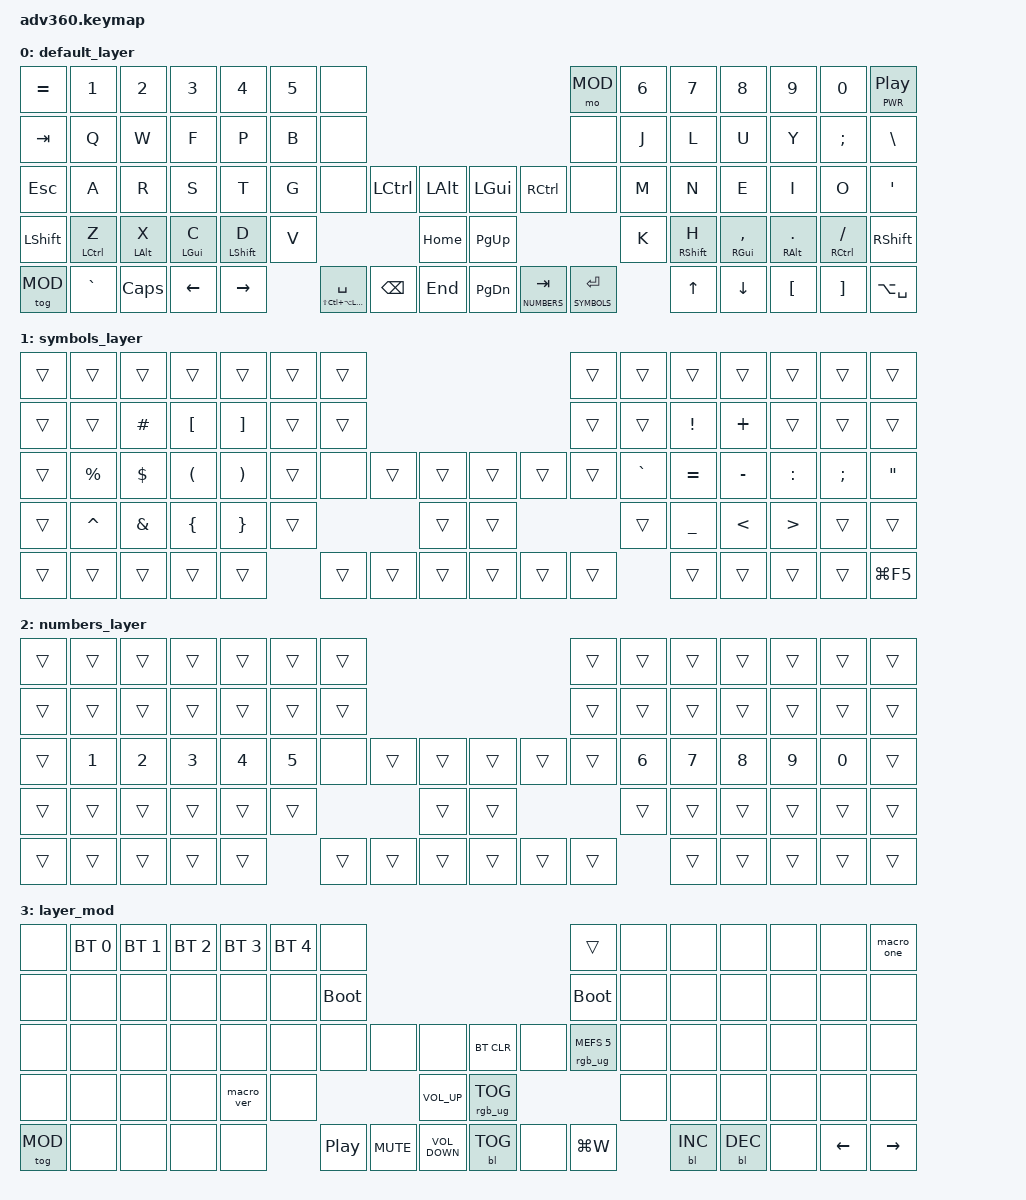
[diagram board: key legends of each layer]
/*
 * Copyright (c) 2020 The ZMK Contributors
 *
 * SPDX-License-Identifier: MIT
 */
/* THIS FILE WAS GENERATED!
 *
 * This file was generated automatically. You may or may not want to
 * edit it directly.
 */

#include <behaviors.dtsi>
#include <dt-bindings/zmk/backlight.h>
#include <dt-bindings/zmk/bt.h>
#include <dt-bindings/zmk/keys.h>
#include <dt-bindings/zmk/rgb.h>

#define DEFAULT 0
#define SYMBOLS 1
#define NUMBERS 2
#define MOD 3
#define HYPER LS(LC(LA(LGUI)))

/ {
    behaviors {
        #include "macros.dtsi"
        #include "version.dtsi"
        #ifndef VERSION_MACRO
        macro_ver: macro_ver {
            compatible = "zmk,behavior-macro";
            label = "macro_version";
            #binding-cells = <0>;
            bindings = <&kp RET>;
        };
        #endif

        ht: hold_tap {
            compatible = "zmk,behavior-hold-tap";
            label = "HOLD_TAP";
            #binding-cells = <2>;
            flavor = "tap-preferred";
            tapping-term-ms = <200>;
            bindings = <&kp>, <&kp>;
        };
        hm: homerow_mods {
            compatible = "zmk,behavior-hold-tap";
            label = "Homerow Mods";
            bindings = <&kp>, <&kp>;

            #binding-cells = <2>;
            tapping-term-ms = <200>;
            quick-tap-ms = <175>;
            flavor = "tap-preferred";
        };
    };

    macros {
        #include "secret_macros.dtsi"
        #ifndef MACRO_ONE
        macro_one: macro_one {
            compatible = "zmk,behavior-macro";
            #binding-cells = <0>;
            wait-ms = <40>;
            tap-ms = <40>;
            bindings = <&kp RET>;
        };
        #endif
    };

    keymap {
        compatible = "zmk,keymap";

        default_layer {
            bindings = <
&kp  EQUAL  &kp N1       &kp N2      &kp N3      &kp N4        &kp N5  &none                                                                     &mo MOD            &kp N6  &kp N7       &kp N8          &kp N9        &kp N0          &ht C_PWR C_PLAY_PAUSE
&kp  TAB    &kp Q        &kp W       &kp F       &kp P         &kp B   &none                                                                     &none              &kp J   &kp L        &kp U           &kp Y         &kp SEMI        &kp BSLH
&kp  ESC    &kp A        &kp R       &kp S       &kp T         &kp G   &none            &kp LCTRL      &kp LALT      &kp LGUI   &kp RCTRL        &none              &kp M   &kp N        &kp E           &kp I         &kp O           &kp SQT
&kp  LSHFT  &hm LCTRL Z  &hm LALT X  &hm LGUI C  &hm LSHIFT D  &kp V                                   &kp HOME      &kp PG_UP                                      &kp K   &hm RSHFT H  &hm RGUI COMMA  &hm RALT DOT  &hm RCTRL FSLH  &kp RSHFT
&tog MOD    &kp GRAVE    &kp CAPS    &kp LEFT    &kp RIGHT             &mt HYPER SPACE  &kp BACKSPACE  &kp END       &kp PG_DN  &lt NUMBERS TAB  &lt SYMBOLS ENTER          &kp UP       &kp DOWN        &kp LBKT      &kp RBKT        &kp LA(SPACE)
            >;
        };

        symbols_layer {
            bindings = <
&trans  &trans       &trans     &trans    &trans    &trans  &trans                                      &trans  &trans     &trans     &trans     &trans     &trans    &trans
&trans  &trans       &kp POUND  &kp LBKT  &kp RBKT  &trans  &trans                                      &trans  &trans     &kp EXCL   &kp PLUS   &trans     &trans    &trans
&trans  &kp PERCENT  &kp DLLR   &kp LPAR  &kp RPAR  &trans  &none   &trans  &trans      &trans  &trans  &trans  &kp GRAVE  &kp EQUAL  &kp MINUS  &kp COLON  &kp SEMI  &kp DQT
&trans  &kp CARET    &kp AMPS   &kp LBRC  &kp RBRC  &trans                  &trans      &trans                  &trans     &kp UNDER  &kp LT     &kp GT     &trans    &trans
&trans  &trans       &trans     &trans    &trans            &trans  &trans  &trans      &trans  &trans  &trans             &trans     &trans     &trans     &trans    &kp LG(F5)
            >;
        };

        numbers_layer {
            bindings = <
&trans  &trans  &trans  &trans  &trans  &trans  &trans                                      &trans  &trans  &trans  &trans  &trans  &trans  &trans
&trans  &trans  &trans  &trans  &trans  &trans  &trans                                      &trans  &trans  &trans  &trans  &trans  &trans  &trans
&trans  &kp N1  &kp N2  &kp N3  &kp N4  &kp N5  &none   &trans  &trans      &trans  &trans  &trans  &kp N6  &kp N7  &kp N8  &kp N9  &kp N0  &trans
&trans  &trans  &trans  &trans  &trans  &trans                  &trans      &trans                  &trans  &trans  &trans  &trans  &trans  &trans
&trans  &trans  &trans  &trans  &trans          &trans  &trans  &trans      &trans  &trans  &trans          &trans  &trans  &trans  &trans  &trans
            >;
        };

        layer_mod {
            bindings = <
&none     &bt BT_SEL 0  &bt BT_SEL 1  &bt BT_SEL 2  &bt BT_SEL 3  &bt BT_SEL 4  &none                                                                        &trans                  &none  &none       &none       &none  &none     &macro_one
&none     &none         &none         &none         &none         &none         &bootloader                                                                  &bootloader             &none  &none       &none       &none  &none     &none
&none     &none         &none         &none         &none         &none         &none             &none       &none                  &bt BT_CLR       &none  &rgb_ug RGB_MEFS_CMD 5  &none  &none       &none       &none  &none     &none
&none     &none         &none         &none         &macro_ver    &none                                       &kp C_VOLUME_UP        &rgb_ug RGB_TOG                                 &none  &none       &none       &none  &none     &none
&tog MOD  &none         &none         &none         &none                       &kp C_PLAY_PAUSE  &kp K_MUTE  &kp C_VOLUME_DOWN      &bl BL_TOG       &none  &kp LG(W)                      &bl BL_INC  &bl BL_DEC  &none  &kp LEFT  &kp RIGHT
            >;
        };
    };
};
